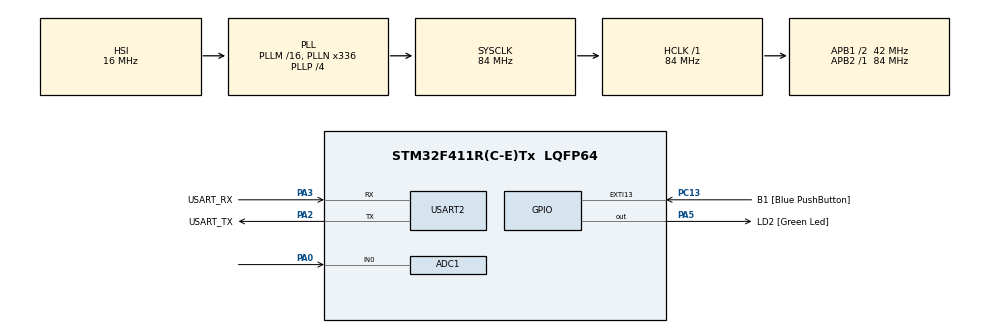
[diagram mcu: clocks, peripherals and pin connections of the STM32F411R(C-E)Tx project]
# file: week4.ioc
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ADC1.Channel-1\#ChannelRegularConversion=ADC_CHANNEL_TEMPSENSOR
ADC1.Channel-2\#ChannelRegularConversion=ADC_CHANNEL_0
ADC1.ContinuousConvMode=ENABLE
ADC1.DMAContinuousRequests=ENABLE
ADC1.NbrOfConversion=2
ADC1.NbrOfConversionFlag=1
ADC1.Rank-1\#ChannelRegularConversion=1
ADC1.Rank-2\#ChannelRegularConversion=2
ADC1.SamplingTime-1\#ChannelRegularConversion=ADC_SAMPLETIME_56CYCLES
ADC1.SamplingTime-2\#ChannelRegularConversion=ADC_SAMPLETIME_56CYCLES
ADC1.master=1
Dma.ADC1.0.Direction=DMA_PERIPH_TO_MEMORY
Dma.ADC1.0.FIFOMode=DMA_FIFOMODE_DISABLE
Dma.ADC1.0.Instance=DMA2_Stream0
Dma.ADC1.0.MemDataAlignment=DMA_MDATAALIGN_HALFWORD
Dma.ADC1.0.MemInc=DMA_MINC_ENABLE
Dma.ADC1.0.Mode=DMA_CIRCULAR
Dma.ADC1.0.PeriphDataAlignment=DMA_PDATAALIGN_HALFWORD
Dma.ADC1.0.PeriphInc=DMA_PINC_DISABLE
Dma.ADC1.0.Priority=DMA_PRIORITY_LOW
Dma.Request0=ADC1
Mcu.Family=STM32F4
Mcu.Name=STM32F411R(C-E)Tx
Mcu.Package=LQFP64
NVIC.ADC_IRQn=true\:0\:0\:false\:false\:true\:true\:true\:true
NVIC.DMA2_Stream0_IRQn=true\:0\:0\:false\:false\:true\:false\:true\:true
NVIC.EXTI15_10_IRQn=true\:0\:0\:false\:false\:true\:true\:true\:true
NVIC.PriorityGroup=NVIC_PRIORITYGROUP_0
PA0-WKUP.Signal=ADCx_IN0
PA13.GPIO_Label=TMS
PA13.Mode=Serial_Wire
PA13.Signal=SYS_JTMS-SWDIO
PA14.GPIO_Label=TCK
PA14.Mode=Serial_Wire
PA14.Signal=SYS_JTCK-SWCLK
PA2.GPIO_Label=USART_TX
PA2.Mode=Asynchronous
PA2.Signal=USART2_TX
PA3.GPIO_Label=USART_RX
PA3.Mode=Asynchronous
PA3.Signal=USART2_RX
PA5.GPIO_Label=LD2 [Green Led]
PA5.Signal=GPIO_Output
PB3.GPIO_Label=SWO
PB3.Signal=SYS_JTDO-SWO
PC13-ANTI_TAMP.GPIO_Label=B1 [Blue PushButton]
PC13-ANTI_TAMP.GPIO_ModeDefaultEXTI=GPIO_MODE_IT_FALLING
PC13-ANTI_TAMP.Signal=GPXTI13
PC14-OSC32_IN.Mode=LSE-External-Oscillator
PC14-OSC32_IN.Signal=RCC_OSC32_IN
PC15-OSC32_OUT.Mode=LSE-External-Oscillator
PC15-OSC32_OUT.Signal=RCC_OSC32_OUT
PH0\ -\ OSC_IN.Mode=HSE-External-Clock-Source
PH0\ -\ OSC_IN.Signal=RCC_OSC_IN
PH1\ -\ OSC_OUT.Mode=HSE-External-Clock-Source
PH1\ -\ OSC_OUT.Signal=RCC_OSC_OUT
ProjectManager.HeapSize=0x200
ProjectManager.StackSize=0x400
ProjectManager.TargetToolchain=STM32CubeIDE
RCC.48MHZClocksFreq_Value=84000000
RCC.AHBFreq_Value=84000000
RCC.APB1CLKDivider=RCC_HCLK_DIV2
RCC.APB1Freq_Value=42000000
RCC.APB1TimFreq_Value=84000000
RCC.APB2Freq_Value=84000000
RCC.APB2TimFreq_Value=84000000
RCC.CortexFreq_Value=84000000
RCC.FLatency-AdvancedSettings=FLASH_LATENCY_2
RCC.HCLKFreq_Value=84000000
RCC.HSE_VALUE=8000000
RCC.HSI_VALUE=16000000
RCC.PLLN=336
RCC.PLLP=RCC_PLLP_DIV4
RCC.SYSCLKFreq_VALUE=84000000
RCC.SYSCLKSource=RCC_SYSCLKSOURCE_PLLCLK
RCC.VCOOutputFreq_Value=336000000
SH.ADCx_IN0.0=ADC1_IN0,IN0
USART2.VirtualMode=VM_ASYNC
VP_ADC1_TempSens_Input.Mode=IN-TempSens
board=NUCLEO-F411RE

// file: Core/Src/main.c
/* USER CODE BEGIN Header */
/**
  ******************************************************************************
  * @file           : main.c
  * @brief          : Main program body
  ******************************************************************************
  * @attention
  *
  * Copyright (c) 2023 STMicroelectronics.
  * All rights reserved.
  *
  * This software is licensed under terms that can be found in the LICENSE file
  * in the root directory of this software component.
  * If no LICENSE file comes with this software, it is provided AS-IS.
  *
  ******************************************************************************
  */
/* USER CODE END Header */
#include "main.h"

ADC_HandleTypeDef hadc1;
DMA_HandleTypeDef hdma_adc1;

UART_HandleTypeDef huart2;

/* USER CODE BEGIN PV */
uint16_t adcRawData[20];
float OddData=0;
float EvenData=0;
float ADCReverse=0;
float Volt_ADC=0;
float tempc=0;
float tempk=0;
/* USER CODE END PV */

void SystemClock_Config(void);
static void MX_GPIO_Init(void);
static void MX_DMA_Init(void);
static void MX_USART2_UART_Init(void);
static void MX_ADC1_Init(void);

int main(void)
{

  /* MCU Configuration--------------------------------------------------------*/

  /* Reset of all peripherals, Initializes the Flash interface and the Systick. */
  HAL_Init();

  /* Configure the system clock */
  SystemClock_Config();

  /* Initialize all configured peripherals */
  MX_GPIO_Init();
  MX_DMA_Init();
  MX_USART2_UART_Init();
  MX_ADC1_Init();

  /* Infinite loop */
  while (1)
  {

    /* USER CODE BEGIN 3 */
	  static uint32_t timestamp=0;
	  	  if(HAL_GetTick()>=timestamp){
	  		timestamp =HAL_GetTick() + 1000;

	  		OddData=(adcRawData[1]+adcRawData[3]+adcRawData[5]+adcRawData[7]+adcRawData[9]
			+adcRawData[11]+adcRawData[13]+adcRawData[15]+adcRawData[17]+adcRawData[19])/10;

	  		EvenData=(adcRawData[0]+adcRawData[2]+adcRawData[4]+adcRawData[6]+adcRawData[8]
			+adcRawData[10]+adcRawData[12]+adcRawData[14]+adcRawData[16]+adcRawData[18])/10;

	  		ADCReverse = ((OddData*3.3)/(4095))*2*1000;

	  		Volt_ADC=(EvenData*3.3)/4095;
	  		tempc = (Volt_ADC-0.76)/(0.0025)+25;
	  		tempk=tempc+273.15;
	}
  }
  /* USER CODE END 3 */
}

void SystemClock_Config(void)
{
  RCC_OscInitTypeDef RCC_OscInitStruct = {0};
  RCC_ClkInitTypeDef RCC_ClkInitStruct = {0};

  /** Configure the main internal regulator output voltage
  */
  __HAL_RCC_PWR_CLK_ENABLE();
  __HAL_PWR_VOLTAGESCALING_CONFIG(PWR_REGULATOR_VOLTAGE_SCALE1);

  /** Initializes the RCC Oscillators according to the specified parameters
  * in the RCC_OscInitTypeDef structure.
  */
  RCC_OscInitStruct.OscillatorType = RCC_OSCILLATORTYPE_HSI;
  RCC_OscInitStruct.HSIState = RCC_HSI_ON;
  RCC_OscInitStruct.HSICalibrationValue = RCC_HSICALIBRATION_DEFAULT;
  RCC_OscInitStruct.PLL.PLLState = RCC_PLL_ON;
  RCC_OscInitStruct.PLL.PLLSource = RCC_PLLSOURCE_HSI;
  RCC_OscInitStruct.PLL.PLLM = 16;
  RCC_OscInitStruct.PLL.PLLN = 336;
  RCC_OscInitStruct.PLL.PLLP = RCC_PLLP_DIV4;
  RCC_OscInitStruct.PLL.PLLQ = 4;
  if (HAL_RCC_OscConfig(&RCC_OscInitStruct) != HAL_OK)
  {
    Error_Handler();
  }

  /** Initializes the CPU, AHB and APB buses clocks
  */
  RCC_ClkInitStruct.ClockType = RCC_CLOCKTYPE_HCLK|RCC_CLOCKTYPE_SYSCLK
                              |RCC_CLOCKTYPE_PCLK1|RCC_CLOCKTYPE_PCLK2;
  RCC_ClkInitStruct.SYSCLKSource = RCC_SYSCLKSOURCE_PLLCLK;
  RCC_ClkInitStruct.AHBCLKDivider = RCC_SYSCLK_DIV1;
  RCC_ClkInitStruct.APB1CLKDivider = RCC_HCLK_DIV2;
  RCC_ClkInitStruct.APB2CLKDivider = RCC_HCLK_DIV1;

  if (HAL_RCC_ClockConfig(&RCC_ClkInitStruct, FLASH_LATENCY_2) != HAL_OK)
  {
    Error_Handler();
  }
}

static void MX_ADC1_Init(void)
{

  ADC_ChannelConfTypeDef sConfig = {0};

  /** Configure the global features of the ADC (Clock, Resolution, Data Alignment and number of conversion)
  */
  hadc1.Instance = ADC1;
  hadc1.Init.ClockPrescaler = ADC_CLOCK_SYNC_PCLK_DIV4;
  hadc1.Init.Resolution = ADC_RESOLUTION_12B;
  hadc1.Init.ScanConvMode = ENABLE;
  hadc1.Init.ContinuousConvMode = ENABLE;
  hadc1.Init.DiscontinuousConvMode = DISABLE;
  hadc1.Init.ExternalTrigConvEdge = ADC_EXTERNALTRIGCONVEDGE_NONE;
  hadc1.Init.ExternalTrigConv = ADC_SOFTWARE_START;
  hadc1.Init.DataAlign = ADC_DATAALIGN_RIGHT;
  hadc1.Init.NbrOfConversion = 2;
  hadc1.Init.DMAContinuousRequests = ENABLE;
  hadc1.Init.EOCSelection = ADC_EOC_SINGLE_CONV;
  if (HAL_ADC_Init(&hadc1) != HAL_OK)
  {
    Error_Handler();
  }

  /** Configure for the selected ADC regular channel its corresponding rank in the sequencer and its sample time.
  */
  sConfig.Channel = ADC_CHANNEL_TEMPSENSOR;
  sConfig.Rank = 1;
  sConfig.SamplingTime = ADC_SAMPLETIME_56CYCLES;
  if (HAL_ADC_ConfigChannel(&hadc1, &sConfig) != HAL_OK)
  {
    Error_Handler();
  }

  /** Configure for the selected ADC regular channel its corresponding rank in the sequencer and its sample time.
  */
  sConfig.Channel = ADC_CHANNEL_0;
  sConfig.Rank = 2;
  if (HAL_ADC_ConfigChannel(&hadc1, &sConfig) != HAL_OK)
  {
    Error_Handler();
  }

}

static void MX_USART2_UART_Init(void)
{

  huart2.Instance = USART2;
  huart2.Init.BaudRate = 115200;
  huart2.Init.WordLength = UART_WORDLENGTH_8B;
  huart2.Init.StopBits = UART_STOPBITS_1;
  huart2.Init.Parity = UART_PARITY_NONE;
  huart2.Init.Mode = UART_MODE_TX_RX;
  huart2.Init.HwFlowCtl = UART_HWCONTROL_NONE;
  huart2.Init.OverSampling = UART_OVERSAMPLING_16;
  if (HAL_UART_Init(&huart2) != HAL_OK)
  {
    Error_Handler();
  }

}

static void MX_DMA_Init(void)
{

  /* DMA controller clock enable */
  __HAL_RCC_DMA2_CLK_ENABLE();

  /* DMA interrupt init */
  /* DMA2_Stream0_IRQn interrupt configuration */
  HAL_NVIC_SetPriority(DMA2_Stream0_IRQn, 0, 0);
  HAL_NVIC_EnableIRQ(DMA2_Stream0_IRQn);

}

static void MX_GPIO_Init(void)
{
  GPIO_InitTypeDef GPIO_InitStruct = {0};

  /* GPIO Ports Clock Enable */
  __HAL_RCC_GPIOC_CLK_ENABLE();
  __HAL_RCC_GPIOH_CLK_ENABLE();
  __HAL_RCC_GPIOA_CLK_ENABLE();
  __HAL_RCC_GPIOB_CLK_ENABLE();

  /*Configure GPIO pin Output Level */
  HAL_GPIO_WritePin(LD2_GPIO_Port, LD2_Pin, GPIO_PIN_RESET);

  /*Configure GPIO pin : B1_Pin */
  GPIO_InitStruct.Pin = B1_Pin;
  GPIO_InitStruct.Mode = GPIO_MODE_IT_FALLING;
  GPIO_InitStruct.Pull = GPIO_NOPULL;
  HAL_GPIO_Init(B1_GPIO_Port, &GPIO_InitStruct);

  /*Configure GPIO pin : LD2_Pin */
  GPIO_InitStruct.Pin = LD2_Pin;
  GPIO_InitStruct.Mode = GPIO_MODE_OUTPUT_PP;
  GPIO_InitStruct.Pull = GPIO_NOPULL;
  GPIO_InitStruct.Speed = GPIO_SPEED_FREQ_LOW;
  HAL_GPIO_Init(LD2_GPIO_Port, &GPIO_InitStruct);

  /* EXTI interrupt init*/
  HAL_NVIC_SetPriority(EXTI15_10_IRQn, 0, 0);
  HAL_NVIC_EnableIRQ(EXTI15_10_IRQn);

}

/* USER CODE BEGIN 4 */
void HAL_GPIO_EXTI_Callback(uint16_t GPIO_Pin)
{
	if(GPIO_Pin==GPIO_PIN_13)
	{
		HAL_ADC_Start_DMA(&hadc1,adcRawData,20); //ตำแหน่ง,ตัวแปร,จำนวนของBuffer
	}

}
//void HAL_ADC_ConvCpltCallback(ADC_HandleTypeDef* hadc){
//	adcRawData = HAL_ADC_GetValue(&hadc1);
//}
/* USER CODE END 4 */

void Error_Handler(void)
{
  __disable_irq();
  while (1)
  {
  }
}
